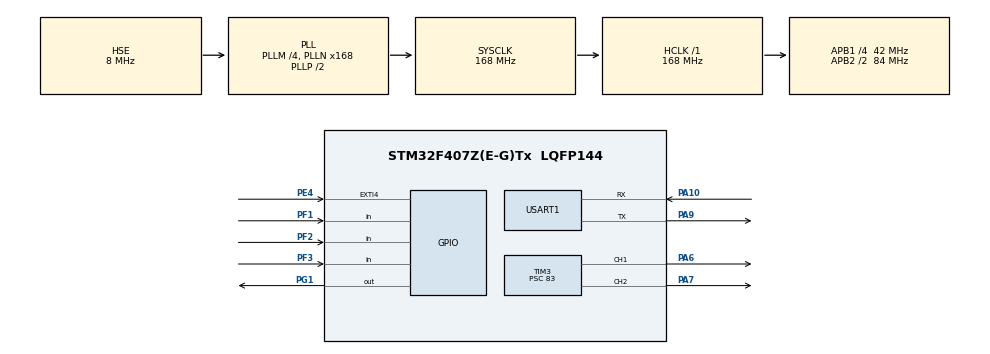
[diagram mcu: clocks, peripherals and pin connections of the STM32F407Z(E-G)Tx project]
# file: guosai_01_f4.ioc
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Mcu.Family=STM32F4
Mcu.Name=STM32F407Z(E-G)Tx
Mcu.Package=LQFP144
NVIC.EXTI4_IRQn=true\:3\:0\:true\:false\:true\:true\:true\:true
NVIC.PriorityGroup=NVIC_PRIORITYGROUP_4
NVIC.USART1_IRQn=true\:2\:0\:true\:false\:true\:true\:true\:true
PA10.Mode=Asynchronous
PA10.Signal=USART1_RX
PA13.Mode=Serial_Wire
PA13.Signal=SYS_JTMS-SWDIO
PA14.Mode=Serial_Wire
PA14.Signal=SYS_JTCK-SWCLK
PA6.Signal=S_TIM3_CH1
PA7.Signal=S_TIM3_CH2
PA9.Mode=Asynchronous
PA9.Signal=USART1_TX
PE4.GPIO_ModeDefaultEXTI=GPIO_MODE_IT_RISING
PE4.GPIO_PuPd=GPIO_PULLUP
PE4.Signal=GPXTI4
PF1.GPIO_PuPd=GPIO_PULLUP
PF1.Signal=GPIO_Input
PF2.GPIO_PuPd=GPIO_PULLUP
PF2.Signal=GPIO_Input
PF3.GPIO_PuPd=GPIO_PULLUP
PF3.Signal=GPIO_Input
PG1.Signal=GPIO_Output
PH0-OSC_IN.Mode=HSE-External-Oscillator
PH0-OSC_IN.Signal=RCC_OSC_IN
PH1-OSC_OUT.Mode=HSE-External-Oscillator
PH1-OSC_OUT.Signal=RCC_OSC_OUT
ProjectManager.HeapSize=0x200
ProjectManager.StackSize=0x400
ProjectManager.TargetToolchain=MDK-ARM V5.32
RCC.48MHZClocksFreq_Value=84000000
RCC.AHBFreq_Value=168000000
RCC.APB1CLKDivider=RCC_HCLK_DIV4
RCC.APB1Freq_Value=42000000
RCC.APB1TimFreq_Value=84000000
RCC.APB2CLKDivider=RCC_HCLK_DIV2
RCC.APB2Freq_Value=84000000
RCC.APB2TimFreq_Value=168000000
RCC.CortexFreq_Value=168000000
RCC.HCLKFreq_Value=168000000
RCC.HSE_VALUE=8000000
RCC.HSI_VALUE=16000000
RCC.LSE_VALUE=32768
RCC.PLLM=4
RCC.PLLN=168
RCC.PLLSourceVirtual=RCC_PLLSOURCE_HSE
RCC.SYSCLKFreq_VALUE=168000000
RCC.SYSCLKSource=RCC_SYSCLKSOURCE_PLLCLK
RCC.VCOOutputFreq_Value=336000000
SH.S_TIM3_CH1.0=TIM3_CH1,PWM Generation1 CH1
SH.S_TIM3_CH2.0=TIM3_CH2,PWM Generation2 CH2
TIM3.Channel-PWM\ Generation1\ CH1=TIM_CHANNEL_1
TIM3.Channel-PWM\ Generation2\ CH2=TIM_CHANNEL_2
TIM3.Period=19999
TIM3.Prescaler=83
USART1.VirtualMode=VM_ASYNC
board=custom

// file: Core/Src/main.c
/* USER CODE BEGIN Header */
/**
  ******************************************************************************
  * @file           : main.c
  * @brief          : Main program body
  ******************************************************************************
  * @attention
  *
  * Copyright (c) 2023 STMicroelectronics.
  * All rights reserved.
  *
  * This software is licensed under terms that can be found in the LICENSE file
  * in the root directory of this software component.
  * If no LICENSE file comes with this software, it is provided AS-IS.
  *
  ******************************************************************************
  */
/* USER CODE END Header */
#include "main.h"
#include "tim.h"
#include "usart.h"
#include "gpio.h"

/* USER CODE BEGIN Includes */
#include "User.h"
#include "Servo.h"
#include "EXTI.h"
#include "Openmv.h"
#include "pid.h"
#include "math.h"
/* USER CODE END Includes */

void SystemClock_Config(void);

/* USER CODE BEGIN 0 */
int i,j,y,b=0;
uint8_t usart1_rxbuff;
int a=0;
extern int aa,bb,cc,dd,c,d;
extern int Last_Realizex,Last_Realizey;
float pa,pb,pc,pd,pe,pf,pg,pi,pj;
int xe=0,ye;

//延时函数
void delay_ms(uint32_t nTimer)
{
	uint32_t i=0;
	for(i=0;i<nTimer;i++){
		for(y=0;y<=100;y++){
			for(j=0;j<=84;j++)
		{
		__NOP();
		}
		j=0;
	}
		y=0;
	}
}

//消抖函数
 void HAL_GPIO_EXTI_Callback(uint16_t GPIO_Pin)
{
	if(GPIO_Pin==GPIO_PIN_4)
	{
		delay_ms(100);
		if(HAL_GPIO_ReadPin(GPIOE,GPIO_PIN_4)==GPIO_PIN_SET)
		{
			delay_ms(100);
			if(a%2==0)
			{
							while(1)
						{
						if(HAL_GPIO_ReadPin(GPIOE,GPIO_PIN_4)==GPIO_PIN_RESET)
						{
							break;
						}
						}
					}
			else{}
		a++;
		}
	}
}

//串口
void HAL_UART_RxCpltCallback(UART_HandleTypeDef *huart)
{
  uint16_t tem;
  if(huart->Instance==USART1)
  {
    tem=usart1_rxbuff;
    Openmv_Receive_Data(tem);
  }
  HAL_UART_Receive_IT(&huart1,(void *)&usart1_rxbuff,1);
}

/* USER CODE END 0 */

int main(void)
{

  /* MCU Configuration--------------------------------------------------------*/

  /* Reset of all peripherals, Initializes the Flash interface and the Systick. */
  HAL_Init();

  /* Configure the system clock */
  SystemClock_Config();

  /* Initialize all configured peripherals */
  MX_GPIO_Init();
  MX_TIM3_Init();
  MX_USART1_UART_Init();
  /* USER CODE BEGIN 2 */
	User_PWMInit();
	HAL_UART_Receive_IT(&huart1,(void *)&usart1_rxbuff,1);
  /* USER CODE END 2 */

  /* Infinite loop */
  /* USER CODE BEGIN WHILE */

  while (1)
	{
		delay_ms(300);
//
//      HAL_GPIO_WritePin(GPIOG , GPIO_PIN_1 , GPIO_PIN_SET);
//      delay_ms(500);
//			HAL_GPIO_WritePin(GPIOG , GPIO_PIN_1 , GPIO_PIN_RESET); //蜂鸣器间断响
//      delay_ms(500);
//      HAL_GPIO_WritePin(GPIOG , GPIO_PIN_1 , GPIO_PIN_SET);
//      delay_ms(500);
//			HAL_GPIO_WritePin(GPIOG , GPIO_PIN_1 , GPIO_PIN_RESET); //蜂鸣器间断响
//

		if(HAL_GPIO_ReadPin(GPIOF,GPIO_PIN_1)==GPIO_PIN_RESET)//选择左右，默认左边
		{
//		__HAL_TIM_SetCompare(&htim3, TIM_CHANNEL_1,2000);修改
//		__HAL_TIM_SetCompare(&htim3, TIM_CHANNEL_2,1334);
		delay_ms(1000);
			while(1)
			{
			delay_ms(10);
								if(HAL_GPIO_ReadPin(GPIOF,GPIO_PIN_2)==GPIO_PIN_RESET)
							{
								delay_ms(10);
//				改成右边				tuozhan1_ZUO();
							}
							if(HAL_GPIO_ReadPin(GPIOF,GPIO_PIN_3)==GPIO_PIN_RESET)
							{
								delay_ms(10);
//				改成右边				tuozhan2_ZUO();
							}
				}
		}
		if(HAL_GPIO_ReadPin(GPIOF,GPIO_PIN_2)==GPIO_PIN_RESET)
		{
			delay_ms(10);
			tuozhan1_ZUO();
		}
		if(HAL_GPIO_ReadPin(GPIOF,GPIO_PIN_3)==GPIO_PIN_RESET)
		{
			delay_ms(10);
			tuozhan2_ZUO();
		}
    /* USER CODE END WHILE */

  }
}

void SystemClock_Config(void)
{
  RCC_OscInitTypeDef RCC_OscInitStruct = {0};
  RCC_ClkInitTypeDef RCC_ClkInitStruct = {0};

  /** Configure the main internal regulator output voltage
  */
  __HAL_RCC_PWR_CLK_ENABLE();
  __HAL_PWR_VOLTAGESCALING_CONFIG(PWR_REGULATOR_VOLTAGE_SCALE1);

  /** Initializes the RCC Oscillators according to the specified parameters
  * in the RCC_OscInitTypeDef structure.
  */
  RCC_OscInitStruct.OscillatorType = RCC_OSCILLATORTYPE_HSE;
  RCC_OscInitStruct.HSEState = RCC_HSE_ON;
  RCC_OscInitStruct.PLL.PLLState = RCC_PLL_ON;
  RCC_OscInitStruct.PLL.PLLSource = RCC_PLLSOURCE_HSE;
  RCC_OscInitStruct.PLL.PLLM = 4;
  RCC_OscInitStruct.PLL.PLLN = 168;
  RCC_OscInitStruct.PLL.PLLP = RCC_PLLP_DIV2;
  RCC_OscInitStruct.PLL.PLLQ = 4;
  if (HAL_RCC_OscConfig(&RCC_OscInitStruct) != HAL_OK)
  {
    Error_Handler();
  }

  /** Initializes the CPU, AHB and APB buses clocks
  */
  RCC_ClkInitStruct.ClockType = RCC_CLOCKTYPE_HCLK|RCC_CLOCKTYPE_SYSCLK
                              |RCC_CLOCKTYPE_PCLK1|RCC_CLOCKTYPE_PCLK2;
  RCC_ClkInitStruct.SYSCLKSource = RCC_SYSCLKSOURCE_PLLCLK;
  RCC_ClkInitStruct.AHBCLKDivider = RCC_SYSCLK_DIV1;
  RCC_ClkInitStruct.APB1CLKDivider = RCC_HCLK_DIV4;
  RCC_ClkInitStruct.APB2CLKDivider = RCC_HCLK_DIV2;

  if (HAL_RCC_ClockConfig(&RCC_ClkInitStruct, FLASH_LATENCY_5) != HAL_OK)
  {
    Error_Handler();
  }
}

void Error_Handler(void)
{
  __disable_irq();
  while (1)
  {
  }
}
